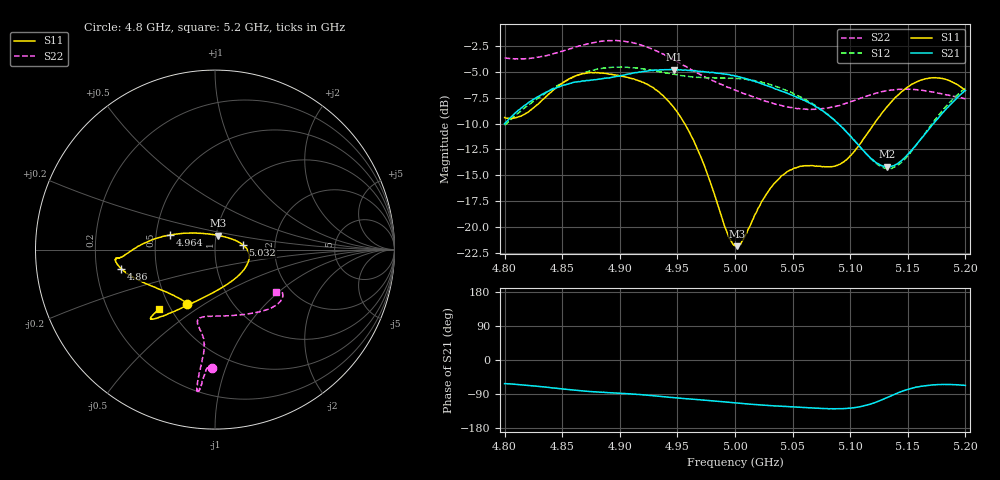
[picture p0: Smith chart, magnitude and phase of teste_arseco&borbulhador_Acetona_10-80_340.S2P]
! Network Analyzer HP8722D
! Hewlett-Packard
! Data name: Linha & Wilkinson
! Saver's name: Rodrigo Anjos
! Comments: Teste da utilização de aquisição
! continua pelo VNA HP8722D
! Time and date: 17/4/2025 17:11
!  Frequency  S11  S21  S12  S22
# HZ  S  MA R 50
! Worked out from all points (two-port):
!   401 points, 4.8 GHz to 5.2 GHz, reference 50 ohm
!   highest |S21| = -4.77 dB at 4.947 GHz (marker M1); lowest = -14.2 dB at 5.132 GHz (marker M2)
!   |S21| within 3 dB of the highest: 4.824 GHz to 5.06 GHz (236.7 MHz wide, 4.79 % of centre); 5.190575 GHz to end of sweep
!   lowest |S11| = -21.9 dB at 5.002 GHz (marker M3), VSWR 1.18, Z = 51.3 + j8.08 ohm
!   |S11| at or under -10 dB: 4.956 GHz to 5.121 GHz (164.8 MHz wide, 3.27 % of centre)
!   |S22| runs from -8.6 to -2.0 dB; largest |S21 - S12| = 0.87
!   S11 on the Smith chart (normalised r, x): 4.8 GHz: 0.62, -0.42; 4.86 GHz: 0.31, -0.09; 4.964 GHz: 0.59, +0.10; 5.032 GHz: 1.36, +0.08; 5.2 GHz: 0.43, -0.36
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4.8e9  0.338 -117.1  0.3158 -62.4  0.3102 -176.6  0.658 -91.4
4.819e9  0.3557 -137.3  0.3918 -66.6  0.3824 -176.3  0.6526 -93.1
4.86e9  0.5344 -168.6  0.5005 -79.4  0.5312 -179.6  0.7361 -95.4
4.867e9  0.5498 -171.2  0.5078 -81.4  0.5505 179.2  0.757 -95.8
4.898e9  0.5424 -175.1  0.5357 -87.2  0.5925 173.3  0.7976 -97.0
4.934e9  0.4502 179.4  0.5743 -95.7  0.5645 170.0  0.7003 -97.3
4.947e9  0.378 173.4  0.5777 -99.4  0.5484 170.3  0.6438 -96.7
4.964e9  0.2625 161.8  0.5695 -103.5  0.531 171.7  0.5691 -96.2
4.975e9  0.187 150.8  0.5623 -106.4  0.5271 173.1  0.5275 -96.7
4.993e9  0.09439 112.1  0.5466 -111.1  0.5257 174.1  0.4755 -98.7
5e9  0.08114 84.6  0.537 -113.2  0.524 174.1  0.459 -100.0
5.002e9  0.08057 76.2  0.5355 -113.6  0.5213 174.2  0.4552 -100.6
5.032e9  0.1566 10.0  0.4734 -120.7  0.4853 172.9  0.398 -103.5
5.047e9  0.1871 -4.2  0.4398 -123.2  0.4521 172.3  0.3792 -99.5
5.067e9  0.198 -25.3  0.3925 -126.5  0.3965 171.9  0.3707 -88.3
5.096e9  0.2099 -75.6  0.2907 -127.9  0.2916 174.9  0.396 -65.9
5.119e9  0.3057 -110.0  0.2125 -115.0  0.2103 -170.2  0.4378 -50.5
5.132e9  0.3813 -120.5  0.1952 -99.3  0.1913 -152.6  0.4549 -44.1
5.134e9  0.3925 -121.6  0.1954 -96.5  0.1912 -149.6  0.4582 -43.4
5.148e9  0.4674 -127.9  0.2183 -79.5  0.214 -129.8  0.4646 -38.1
5.169e9  0.5252 -132.4  0.2999 -66.4  0.3045 -112.6  0.4516 -33.3
5.2e9  0.4572 -133.3  0.458 -67.0  0.4686 -109.2  0.4169 -34.9
